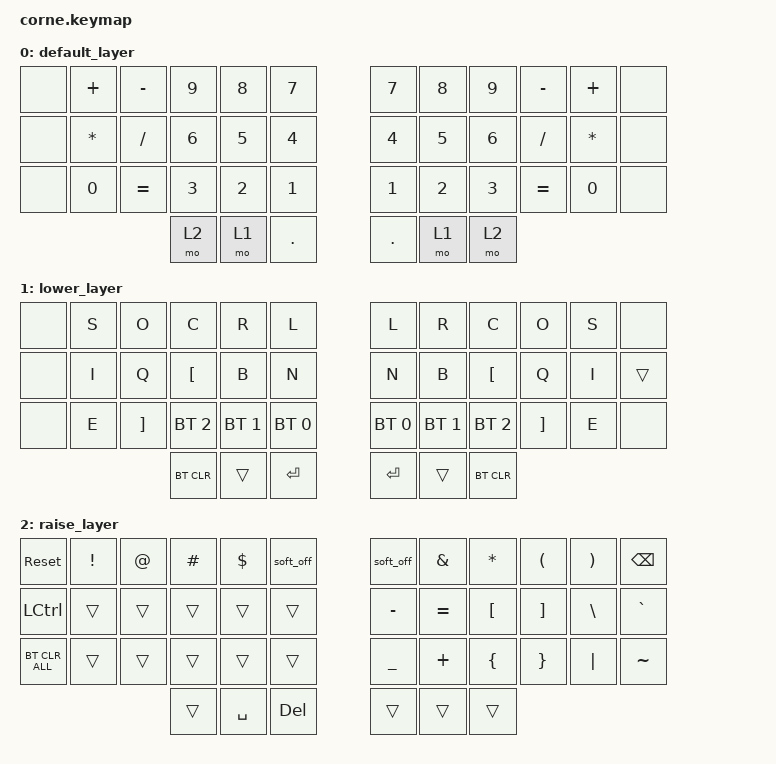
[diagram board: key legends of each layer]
/*
 * Copyright (c) 2020 The ZMK Contributors
 *
 * SPDX-License-Identifier: MIT
 */

#include <behaviors.dtsi>
#include <dt-bindings/zmk/bt.h>
#include <dt-bindings/zmk/keys.h>

/ {
    keymap {
        compatible = "zmk,keymap";

        default_layer {
            // -----------------------------------------------------------------------------------------
            // |  TAB |  Q  |  W  |  E  |  R  |  T  |   |  Y  |  U   |  I  |  O  |  P  | BSPC |
            // | CTRL |  A  |  S  |  D  |  F  |  G  |   |  H  |  J   |  K  |  L  |  ;  |  '   |
            // | SHFT |  Z  |  X  |  C  |  V  |  B  |   |  N  |  M   |  ,  |  .  |  /  | ESC  |
            //                    | GUI | LWR | SPC |   | ENT | RSE  | ALT |

            bindings = <
&none  &kp PLUS      &kp MINUS  &kp N9        &kp N8        &kp N7          &kp N7        &kp N8        &kp N9        &kp MINUS  &kp PLUS      &none
&none  &kp ASTERISK  &kp SLASH  &kp NUMBER_6  &kp N5        &kp NUMBER_4    &kp NUMBER_4  &kp N5        &kp NUMBER_6  &kp SLASH  &kp ASTERISK  &none
&none  &kp N0        &kp EQUAL  &kp NUMBER_3  &kp NUMBER_2  &kp NUMBER_1    &kp NUMBER_1  &kp NUMBER_2  &kp NUMBER_3  &kp EQUAL  &kp N0        &none
                                &mo 2         &mo 1         &kp PERIOD      &kp PERIOD    &mo 1         &mo 2
            >;
        };

        lower_layer {
            // -----------------------------------------------------------------------------------------
            // |  TAB |  1  |  2  |  3  |  4  |  5  |   |  6  |  7  |  8  |  9  |  0  | BSPC |
            // | BTCLR| BT1 | BT2 | BT3 | BT4 | BT5 |   | LFT | DWN |  UP | RGT |     |      |
            // | SHFT |     |     |     |     |     |   |     |     |     |     |     |      |
            //                    | GUI |     | SPC |   | ENT |     | ALT |

            bindings = <
&none  &kp S  &kp O              &kp C             &kp R         &kp L           &kp L         &kp R         &kp C             &kp O              &kp S  &none
&none  &kp I  &kp Q              &kp LEFT_BRACKET  &kp B         &kp N           &kp N         &kp B         &kp LEFT_BRACKET  &kp Q              &kp I  &trans
&none  &kp E  &kp RIGHT_BRACKET  &bt BT_SEL 2      &bt BT_SEL 1  &bt BT_SEL 0    &bt BT_SEL 0  &bt BT_SEL 1  &bt BT_SEL 2      &kp RIGHT_BRACKET  &kp E  &none
                                 &bt BT_CLR        &trans        &kp ENTER       &kp RET       &trans        &bt BT_CLR
            >;
        };

        raise_layer {
            // -----------------------------------------------------------------------------------------
            // |  TAB |  !  |  @  |  #  |  $  |  %  |   |  ^  |  &  |  *  |  (  |  )  | BSPC |
            // | CTRL |     |     |     |     |     |   |  -  |  =  |  [  |  ]  |  \  |  `   |
            // | SHFT |     |     |     |     |     |   |  _  |  +  |  {  |  }  | "|" |  ~   |
            //                    | GUI |     | SPC |   | ENT |     | ALT |

            bindings = <
&sys_reset      &kp EXCL  &kp AT  &kp HASH  &kp DLLR   &soft_off    &soft_off  &kp AMPS   &kp ASTRK  &kp LPAR  &kp RPAR  &kp BSPC
&kp LCTRL       &trans    &trans  &trans    &trans     &trans       &kp MINUS  &kp EQUAL  &kp LBKT   &kp RBKT  &kp BSLH  &kp GRAVE
&bt BT_CLR_ALL  &trans    &trans  &trans    &trans     &trans       &kp UNDER  &kp PLUS   &kp LBRC   &kp RBRC  &kp PIPE  &kp TILDE
                                  &trans    &kp SPACE  &kp DEL      &trans     &trans     &trans
            >;
        };
    };
};
